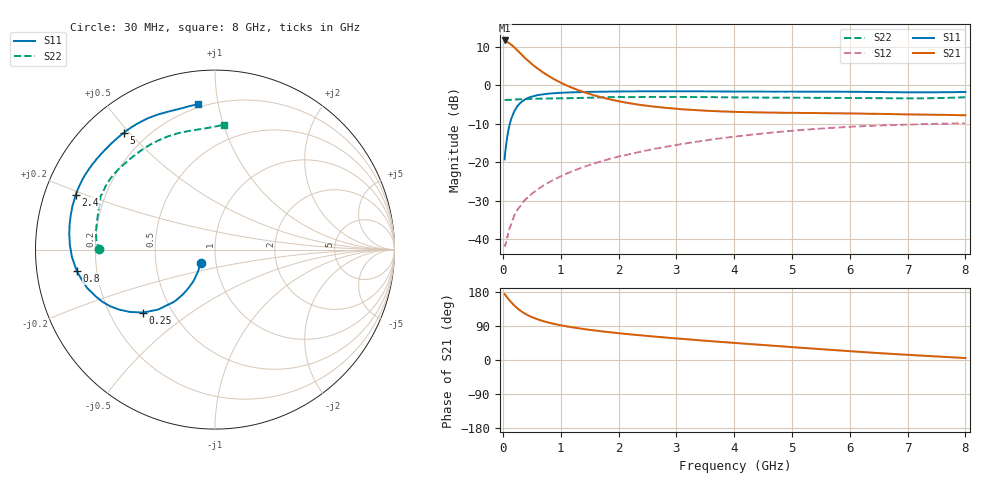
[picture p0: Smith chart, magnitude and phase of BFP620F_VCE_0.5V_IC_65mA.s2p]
! Infineon Technologies  Discrete & RF Semiconductors
! BFP620F
! VCE =  0.5 V,  IC =  65 mA
! Common Emitter S-Parameters:  Dec 2014
# GHz  S  MA  R  50
!  f  S11  S21  S12  S22
! GHz  MAG  ANG  MAG  ANG  MAG  ANG  MAG  ANG
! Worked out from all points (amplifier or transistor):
!   95 points, 30 MHz to 8 GHz, reference 50 ohm
!   highest |S21| = 11.6 dB at 30 MHz (marker M1)
!   |S21| within 3 dB of that: start of sweep to 277.9 MHz
!   unconditionally stable (mu >= 1): start of sweep to end of sweep
!   at 300 MHz: K = 3.05, MAG = 12.1 dB, |S12| = -31.4 dB
!   at 3.3 GHz: K = 1.51, MAG = 0.0 dB, |S12| = -14.8 dB
!   at 8 GHz: K = 1.28, MAG = -2.1 dB, |S12| = -9.9 dB
!   S11 on the Smith chart (normalised r, x): 30 MHz: 0.85, -0.13; 250 MHz: 0.34, -0.34; 800 MHz: 0.12, -0.08; 2.4 GHz: 0.09, +0.19; 5 GHz: 0.12, +0.48; 8 GHz: 0.18, +0.87
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0.03  0.1085 -135.6  3.819 173.9  0.0086 25.9  0.6449 179.6
0.04  0.1318 -131.8  3.738 171.9  0.0081 30.4  0.6449 179.5
0.07  0.1994 -124.8  3.667 166.1  0.0108 37.5  0.6444 179.6
0.08  0.224 -124.3  3.639 164.0  0.0105 45.8  0.6443 179.3
0.13  0.3361 -126.8  3.431 154.7  0.0147 50.3  0.6466 179.0
0.2  0.4624 -133.6  3.098 143.4  0.0205 56.6  0.651 178.3
0.25  0.5323 -138.8  2.836 136.5  0.0239 58.4  0.6551 177.7
0.35  0.6296 -147.9  2.391 125.3  0.0304 59.8  0.6603 176.2
0.4  0.6647 -151.7  2.197 120.8  0.0333 60.0  0.6629 175.4
0.5  0.7112 -158.2  1.887 113.3  0.0388 60.5  0.6663 173.8
0.6  0.7439 -163.3  1.647 107.4  0.0443 61.2  0.669 172.2
0.8  0.7795 -171.2  1.308 98.4  0.0549 62.0  0.6729 169.2
1.1  0.8032 -179.7  0.995 88.8  0.0707 62.1  0.6781 164.8
1.4  0.817 173.9  0.815 81.7  0.0867 61.5  0.6857 160.9
1.8  0.8259 167.0  0.669 74.1  0.1078 59.7  0.6986 156.4
2.4  0.8331 158.5  0.552 64.8  0.1376 55.5  0.7029 151.2
2.7  0.8351 154.7  0.519 60.8  0.1526 53.5  0.7046 148.8
4.1  0.8277 137.9  0.449 44.0  0.2188 41.7  0.6936 135.6
5  0.8261 128.0  0.438 34.0  0.2558 33.2  0.6885 124.8
5.4  0.8255 123.9  0.435 29.7  0.2701 29.3  0.6864 119.9
6.7  0.8129 110.0  0.422 16.4  0.3027 16.9  0.6771 103.5
8  0.8176 96.8  0.407 5.1  0.3198 5.9  0.6975 85.7
